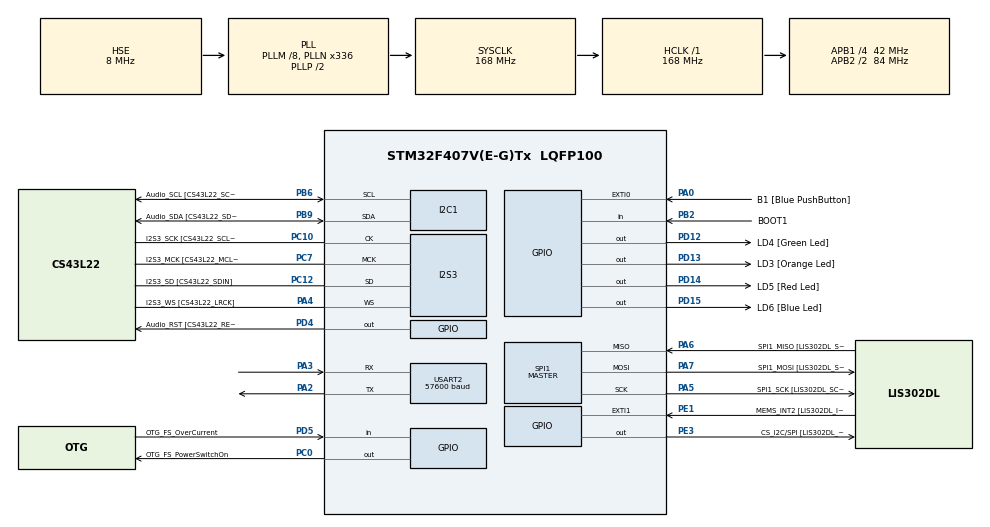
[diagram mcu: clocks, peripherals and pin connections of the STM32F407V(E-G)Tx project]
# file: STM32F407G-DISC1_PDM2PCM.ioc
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I2S3.AudioFreq-Half_Duplex_Master=I2S_AUDIOFREQ_96K
I2S3.ErrorAudioFreq=-2.34 %
I2S3.ErrorAudioFreq-Half_Duplex_Master=0.8 %
I2S3.FullDuplexMode=I2S_FULLDUPLEXMODE_DISABLE
I2S3.Instance=SPI$Index
I2S3.RealAudioFreq=93.75 KHz
I2S3.RealAudioFreq-Half_Duplex_Master=96.774 KHz
I2S3.VirtualMode=I2S_MODE_MASTER
Mcu.Family=STM32F4
Mcu.Name=STM32F407V(E-G)Tx
Mcu.Package=LQFP100
NVIC.PriorityGroup=NVIC_PRIORITYGROUP_0
PA0-WKUP.GPIO_Label=B1 [Blue PushButton]
PA0-WKUP.GPIO_ModeDefaultEXTI=GPIO_MODE_EVT_RISING
PA0-WKUP.GPIO_PuPd=GPIO_NOPULL
PA0-WKUP.Signal=GPXTI0
PA10.GPIO_Label=OTG_FS_ID
PA10.GPIO_Mode=GPIO_MODE_AF_PP
PA10.GPIO_PuPd=GPIO_NOPULL
PA10.GPIO_Speed=GPIO_SPEED_FREQ_LOW
PA10.Signal=USB_OTG_FS_ID
PA11.GPIO_Label=OTG_FS_DM
PA11.GPIO_Mode=GPIO_MODE_AF_PP
PA11.GPIO_PuPd=GPIO_NOPULL
PA11.GPIO_Speed=GPIO_SPEED_FREQ_LOW
PA11.Signal=USB_OTG_FS_DM
PA12.GPIO_Label=OTG_FS_DP
PA12.GPIO_Mode=GPIO_MODE_AF_PP
PA12.GPIO_PuPd=GPIO_NOPULL
PA12.GPIO_Speed=GPIO_SPEED_FREQ_LOW
PA12.Signal=USB_OTG_FS_DP
PA13.GPIO_Label=SWDIO
PA13.Mode=Serial_Wire
PA13.Signal=SYS_JTMS-SWDIO
PA14.GPIO_Label=SWCLK
PA14.Mode=Serial_Wire
PA14.Signal=SYS_JTCK-SWCLK
PA2.Mode=Asynchronous
PA2.Signal=USART2_TX
PA3.Mode=Asynchronous
PA3.Signal=USART2_RX
PA4.GPIO_Label=I2S3_WS [CS43L22_LRCK]
PA4.GPIO_Mode=GPIO_MODE_AF_PP
PA4.GPIO_PuPd=GPIO_NOPULL
PA4.GPIO_Speed=GPIO_SPEED_FREQ_LOW
PA4.Mode=Half_Duplex_Master
PA4.Signal=I2S3_WS
PA5.GPIO_Label=SPI1_SCK [LIS302DL_SCL/SPC]
PA5.GPIO_Mode=GPIO_MODE_AF_PP
PA5.GPIO_PuPd=GPIO_NOPULL
PA5.GPIO_Speed=GPIO_SPEED_FREQ_LOW
PA5.Mode=Full_Duplex_Master
PA5.Signal=SPI1_SCK
PA6.GPIO_Label=SPI1_MISO [LIS302DL_SDO]
PA6.GPIO_Mode=GPIO_MODE_AF_PP
PA6.GPIO_PuPd=GPIO_NOPULL
PA6.GPIO_Speed=GPIO_SPEED_FREQ_LOW
PA6.Mode=Full_Duplex_Master
PA6.Signal=SPI1_MISO
PA7.GPIO_Label=SPI1_MOSI [LIS302DL_SDA/SDI/SDO]
PA7.GPIO_Mode=GPIO_MODE_AF_PP
PA7.GPIO_PuPd=GPIO_NOPULL
PA7.GPIO_Speed=GPIO_SPEED_FREQ_LOW
PA7.Mode=Full_Duplex_Master
PA7.Signal=SPI1_MOSI
PA9.GPIO_Label=VBUS_FS
PA9.GPIO_Mode=GPIO_MODE_INPUT
PA9.GPIO_PuPd=GPIO_NOPULL
PA9.Signal=USB_OTG_FS_VBUS
PB10.GPIO_Label=CLK_IN [MP45DT02_CLK]
PB10.GPIO_Mode=GPIO_MODE_AF_PP
PB10.GPIO_PuPd=GPIO_NOPULL
PB10.GPIO_Speed=GPIO_SPEED_FREQ_LOW
PB10.Signal=I2S2_CK
PB2.GPIO_Label=BOOT1
PB2.GPIO_Mode=GPIO_MODE_INPUT
PB2.GPIO_PuPd=GPIO_NOPULL
PB2.Signal=GPIO_Input
PB3.GPIO_Label=SWO
PB3.Signal=SYS_JTDO-SWO
PB6.GPIO_Label=Audio_SCL [CS43L22_SCL]
PB6.GPIO_Mode=GPIO_MODE_AF_OD
PB6.GPIO_Pu=GPIO_PULLUP
PB6.GPIO_PuPd=GPIO_NOPULL
PB6.GPIO_Speed=GPIO_SPEED_FREQ_LOW
PB6.Mode=I2C
PB6.Signal=I2C1_SCL
PB9.GPIO_Label=Audio_SDA [CS43L22_SDA]
PB9.GPIO_Mode=GPIO_MODE_AF_OD
PB9.GPIO_Pu=GPIO_PULLUP
PB9.GPIO_PuPd=GPIO_NOPULL
PB9.GPIO_Speed=GPIO_SPEED_FREQ_LOW
PB9.Mode=I2C
PB9.Signal=I2C1_SDA
PC0.GPIO_Label=OTG_FS_PowerSwitchOn
PC0.GPIO_PuPd=GPIO_NOPULL
PC0.GPIO_Speed=GPIO_SPEED_FREQ_LOW
PC0.PinState=GPIO_PIN_SET
PC0.Signal=GPIO_Output
PC10.GPIO_Label=I2S3_SCK [CS43L22_SCLK]
PC10.GPIO_Mode=GPIO_MODE_AF_PP
PC10.GPIO_PuPd=GPIO_NOPULL
PC10.GPIO_Speed=GPIO_SPEED_FREQ_LOW
PC10.Mode=Half_Duplex_Master
PC10.Signal=I2S3_CK
PC12.GPIO_Label=I2S3_SD [CS43L22_SDIN]
PC12.GPIO_Mode=GPIO_MODE_AF_PP
PC12.GPIO_PuPd=GPIO_NOPULL
PC12.GPIO_Speed=GPIO_SPEED_FREQ_LOW
PC12.Mode=Half_Duplex_Master
PC12.Signal=I2S3_SD
PC3.GPIO_Label=PDM_OUT [MP45DT02_DOUT]
PC3.GPIO_Mode=GPIO_MODE_AF_PP
PC3.GPIO_PuPd=GPIO_NOPULL
PC3.GPIO_Speed=GPIO_SPEED_FREQ_LOW
PC3.Signal=I2S2_SD
PC7.GPIO_Label=I2S3_MCK [CS43L22_MCLK]
PC7.GPIO_Mode=GPIO_MODE_AF_PP
PC7.GPIO_PuPd=GPIO_NOPULL
PC7.GPIO_Speed=GPIO_SPEED_FREQ_LOW
PC7.Mode=Master_Clock_Activated
PC7.Signal=I2S3_MCK
PD12.GPIO_Label=LD4 [Green Led]
PD12.GPIO_PuPd=GPIO_NOPULL
PD12.GPIO_Speed=GPIO_SPEED_FREQ_LOW
PD12.Signal=GPIO_Output
PD13.GPIO_Label=LD3 [Orange Led]
PD13.GPIO_PuPd=GPIO_NOPULL
PD13.GPIO_Speed=GPIO_SPEED_FREQ_LOW
PD13.Signal=GPIO_Output
PD14.GPIO_Label=LD5 [Red Led]
PD14.GPIO_PuPd=GPIO_NOPULL
PD14.GPIO_Speed=GPIO_SPEED_FREQ_LOW
PD14.Signal=GPIO_Output
PD15.GPIO_Label=LD6 [Blue Led]
PD15.GPIO_PuPd=GPIO_NOPULL
PD15.GPIO_Speed=GPIO_SPEED_FREQ_LOW
PD15.Signal=GPIO_Output
PD4.GPIO_Label=Audio_RST [CS43L22_RESET]
PD4.GPIO_PuPd=GPIO_NOPULL
PD4.GPIO_Speed=GPIO_SPEED_FREQ_LOW
PD4.Signal=GPIO_Output
PD5.GPIO_Label=OTG_FS_OverCurrent
PD5.GPIO_Mode=GPIO_MODE_INPUT
PD5.GPIO_PuPd=GPIO_NOPULL
PD5.Signal=GPIO_Input
PDM2PCM.CHANNEL1_in_ptr_channels=1
PDM2PCM.CHANNEL1_out_ptr_channels=1
PDM2PCM.CHANNEL1_output_samples_number=125
PE1.GPIO_Label=MEMS_INT2 [LIS302DL_INT2]
PE1.GPIO_ModeDefaultEXTI=GPIO_MODE_EVT_RISING
PE1.GPIO_PuPd=GPIO_NOPULL
PE1.Signal=GPXTI1
PE3.GPIO_Label=CS_I2C/SPI [LIS302DL_CS_I2C/SPI]
PE3.GPIO_PuPd=GPIO_NOPULL
PE3.GPIO_Speed=GPIO_SPEED_FREQ_LOW
PE3.Signal=GPIO_Output
PH0-OSC_IN.GPIO_Label=PH0-OSC_IN
PH0-OSC_IN.Mode=HSE-External-Oscillator
PH0-OSC_IN.Signal=RCC_OSC_IN
PH1-OSC_OUT.GPIO_Label=PH1-OSC_OUT
PH1-OSC_OUT.Mode=HSE-External-Oscillator
PH1-OSC_OUT.Signal=RCC_OSC_OUT
ProjectManager.HeapSize=0x200
ProjectManager.StackSize=0x400
ProjectManager.TargetToolchain=STM32CubeIDE
RCC.48MHZClocksFreq_Value=48000000
RCC.AHBFreq_Value=168000000
RCC.APB1CLKDivider=RCC_HCLK_DIV4
RCC.APB1Freq_Value=42000000
RCC.APB1TimFreq_Value=84000000
RCC.APB2CLKDivider=RCC_HCLK_DIV2
RCC.APB2Freq_Value=84000000
RCC.APB2TimFreq_Value=168000000
RCC.CortexFreq_Value=168000000
RCC.HCLKFreq_Value=168000000
RCC.HSE_VALUE=8000000
RCC.HSI_VALUE=16000000
RCC.LSE_VALUE=32768
RCC.PLLM=8
RCC.PLLN=336
RCC.PLLQ=7
RCC.PLLSourceVirtual=RCC_PLLSOURCE_HSE
RCC.SYSCLKFreq_VALUE=168000000
RCC.SYSCLKSource=RCC_SYSCLKSOURCE_PLLCLK
RCC.VCOOutputFreq_Value=336000000
SPI1.BaudRatePrescaler-Full_Duplex_Master=SPI_BAUDRATEPRESCALER_2
SPI1.CalculateBaudRate-Full_Duplex_Master=42.0 MBits/s
SPI1.Direction=SPI_DIRECTION_2LINES
SPI1.Mode=SPI_MODE_MASTER
SPI1.Mode-Full_Duplex_Master=SPI_MODE_MASTER
SPI1.VirtualType=VM_MASTER
USART2.BaudRate=57600
USART2.VirtualMode=VM_ASYNC
VP_CRC_VS_CRC.Mode=CRC_Activate
VP_PDM2PCM_VS_PDM2PCM.Mode=PDM2PCM_Channel
board=STM32F407G-DISC1

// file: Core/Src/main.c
/* USER CODE BEGIN Header */
/**
  ******************************************************************************
  * @file           : main.c
  * @brief          : Main program body
  ******************************************************************************
  * @attention
  *
  * <h2><center>&copy; Copyright (c) 2021 STMicroelectronics.
  * All rights reserved.</center></h2>
  *
  * This software component is licensed by ST under Ultimate Liberty license
  * SLA0044, the "License"; You may not use this file except in compliance with
  * the License. You may obtain a copy of the License at:
  *                             www.st.com/SLA0044
  *
  ******************************************************************************
  */
/* USER CODE END Header */
#include "main.h"
#include "pdm2pcm.h"

/* USER CODE BEGIN Includes */

#include <stdio.h>
#include "pdm_tones.h"

/* USER CODE END Includes */

 CRC_HandleTypeDef hcrc;

I2C_HandleTypeDef hi2c1;

I2S_HandleTypeDef hi2s3;

SPI_HandleTypeDef hspi1;

UART_HandleTypeDef huart2;

/* USER CODE BEGIN PV */

int16_t PCM_outBuffer[1000];

/* USER CODE END PV */

void SystemClock_Config(void);
static void MX_GPIO_Init(void);
static void MX_I2C1_Init(void);
static void MX_I2S3_Init(void);
static void MX_SPI1_Init(void);
static void MX_USART2_UART_Init(void);
static void MX_CRC_Init(void);
/* USER CODE BEGIN PFP */

#define PUTCHAR_PROTOTYPE int __io_putchar(int ch)

/* USER CODE END PFP */

int main(void)
{

  /* MCU Configuration--------------------------------------------------------*/

  /* Reset of all peripherals, Initializes the Flash interface and the Systick. */
  HAL_Init();

  /* Configure the system clock */
  SystemClock_Config();

  /* Initialize all configured peripherals */
  MX_GPIO_Init();
  MX_I2C1_Init();
  MX_I2S3_Init();
  MX_SPI1_Init();
  MX_USART2_UART_Init();
  MX_CRC_Init();
  MX_PDM2PCM_Init();
  /* USER CODE BEGIN 2 */

//	printf("tone500Hz_pdmdata\n");
//	for (uint16_t Index = 0; Index < sizeof(tone500Hz_pdmdata); Index++)
//	{
//	  printf("%d %d\n",Index, tone500Hz_pdmdata[Index]);
//	}

  printf("Starting >> STM32F407G-DISC1_PDM2PCM... \n");

	// first bit to MSB - 8bit tone "AA"
	for(uint16_t i = 0; i < sizeof(tone500HzA4_pdmdata) * 4; i++)
	{
		pdmBuffer8_8000bits_1000bytes_1[i >> 3] = 0x55;
//		printf("i = %d,  i >>3 = %d, i mod sizeof(tone500HzA4_pdmdata) = %d \n",i, i >>3, i % sizeof(tone500HzA4_pdmdata));
	}

	// first bit to MSB - 8bit tone500Hz_pdmdata
	for(uint16_t i = 0; i < sizeof(tone500Hz_pdmdata) * 4; i++)
	{
		pdmBuffer8_8000bits_1000bytes_2[i >> 3] = (pdmBuffer8_8000bits_1000bytes_2[i >> 3] << 1) + tone500Hz_pdmdata[i % sizeof(tone500Hz_pdmdata)];
//		printf("i = %d,  i >>3 = %d, i mod sizeof(tone500Hz_pdmdata) = %d \n",i, i >>3, i % sizeof(tone500Hz_pdmdata));
	}

	// first bit to MSB - 8bit tone500HzA4_pdmdata
	for(uint16_t i = 0; i < sizeof(tone500HzA4_pdmdata) * 4; i++)
	{
		pdmBuffer8_8000bits_1000bytes_3[i >> 3] = (pdmBuffer8_8000bits_1000bytes_3[i >> 3] << 1) + tone500HzA4_pdmdata[i % sizeof(tone500HzA4_pdmdata)];
//		printf("i = %d,  i >>3 = %d, i mod sizeof(tone500HzA4_pdmdata) = %d \n",i, i >>3, i % sizeof(tone500HzA4_pdmdata));
	}

//	printf("pdmBuffer8_8000bits_1000bytes_2 first bit to MSB\n");
//	for (uint16_t Index = 0; Index < sizeof(pdmBuffer8_8000bits_1000bytes_2); Index++)
//	{
//		printf("%d %d\n",Index, pdmBuffer8_8000bits_1000bytes_2[Index]);
//	}

	GPIOD->BSRR = (1<<15); // Set
	PDM_Filter(&pdmBuffer8_8000bits_1000bytes_1[0],&PCM_outBuffer[0], &PDM1_filter_handler);
	GPIOD->BSRR  = (1<< (15 + 16) ); // Reset
	PDM_Filter(&pdmBuffer8_8000bits_1000bytes_2[0],&PCM_outBuffer[125], &PDM1_filter_handler);
	GPIOD->BSRR = (1<<15); // Set
	PDM_Filter(&pdmBuffer8_8000bits_1000bytes_1[0],&PCM_outBuffer[250], &PDM1_filter_handler);
	GPIOD->BSRR  = (1<< (15 + 16) ); // Reset
	PDM_Filter(&pdmBuffer8_8000bits_1000bytes_3[0],&PCM_outBuffer[375], &PDM1_filter_handler);
	GPIOD->BSRR = (1<<15); // Set

//	PDM_Filter(&pdmBuffer8_8000bits_1000bytes_3[0],&PCM_outBuffer[0], &PDM1_filter_handler);

	printf("PCM_outBuffer \n");
	for (uint16_t Index = 0; Index < 500; Index++)
	{
		printf("%d %d\n",Index, PCM_outBuffer[Index]);
	}

	printf("Ending   >> STM32F407G-DISC1_PDM2PCM... \n");

  /* USER CODE END 2 */

  /* Infinite loop */
  /* USER CODE BEGIN WHILE */
  while (1)
  {
	  HAL_GPIO_TogglePin(GPIOD, GPIO_PIN_12);
//	  HAL_GPIO_TogglePin(GPIOD, GPIO_PIN_13);
//	  HAL_GPIO_TogglePin(GPIOD, GPIO_PIN_14);
//	  HAL_GPIO_TogglePin(GPIOD, GPIO_PIN_15);
	  HAL_Delay(100);
    /* USER CODE END WHILE */

  }
}

void SystemClock_Config(void)
{
  RCC_OscInitTypeDef RCC_OscInitStruct = {0};
  RCC_ClkInitTypeDef RCC_ClkInitStruct = {0};

  /** Configure the main internal regulator output voltage
  */
  __HAL_RCC_PWR_CLK_ENABLE();
  __HAL_PWR_VOLTAGESCALING_CONFIG(PWR_REGULATOR_VOLTAGE_SCALE1);

  /** Initializes the RCC Oscillators according to the specified parameters
  * in the RCC_OscInitTypeDef structure.
  */
  RCC_OscInitStruct.OscillatorType = RCC_OSCILLATORTYPE_HSE;
  RCC_OscInitStruct.HSEState = RCC_HSE_ON;
  RCC_OscInitStruct.PLL.PLLState = RCC_PLL_ON;
  RCC_OscInitStruct.PLL.PLLSource = RCC_PLLSOURCE_HSE;
  RCC_OscInitStruct.PLL.PLLM = 8;
  RCC_OscInitStruct.PLL.PLLN = 336;
  RCC_OscInitStruct.PLL.PLLP = RCC_PLLP_DIV2;
  RCC_OscInitStruct.PLL.PLLQ = 7;
  if (HAL_RCC_OscConfig(&RCC_OscInitStruct) != HAL_OK)
  {
    Error_Handler();
  }

  /** Initializes the CPU, AHB and APB buses clocks
  */
  RCC_ClkInitStruct.ClockType = RCC_CLOCKTYPE_HCLK|RCC_CLOCKTYPE_SYSCLK
                              |RCC_CLOCKTYPE_PCLK1|RCC_CLOCKTYPE_PCLK2;
  RCC_ClkInitStruct.SYSCLKSource = RCC_SYSCLKSOURCE_PLLCLK;
  RCC_ClkInitStruct.AHBCLKDivider = RCC_SYSCLK_DIV1;
  RCC_ClkInitStruct.APB1CLKDivider = RCC_HCLK_DIV4;
  RCC_ClkInitStruct.APB2CLKDivider = RCC_HCLK_DIV2;

  if (HAL_RCC_ClockConfig(&RCC_ClkInitStruct, FLASH_LATENCY_5) != HAL_OK)
  {
    Error_Handler();
  }
}

static void MX_CRC_Init(void)
{

  hcrc.Instance = CRC;
  if (HAL_CRC_Init(&hcrc) != HAL_OK)
  {
    Error_Handler();
  }
  __HAL_CRC_DR_RESET(&hcrc);

}

static void MX_I2C1_Init(void)
{

  hi2c1.Instance = I2C1;
  hi2c1.Init.ClockSpeed = 100000;
  hi2c1.Init.DutyCycle = I2C_DUTYCYCLE_2;
  hi2c1.Init.OwnAddress1 = 0;
  hi2c1.Init.AddressingMode = I2C_ADDRESSINGMODE_7BIT;
  hi2c1.Init.DualAddressMode = I2C_DUALADDRESS_DISABLE;
  hi2c1.Init.OwnAddress2 = 0;
  hi2c1.Init.GeneralCallMode = I2C_GENERALCALL_DISABLE;
  hi2c1.Init.NoStretchMode = I2C_NOSTRETCH_DISABLE;
  if (HAL_I2C_Init(&hi2c1) != HAL_OK)
  {
    Error_Handler();
  }

}

static void MX_I2S3_Init(void)
{

  hi2s3.Instance = SPI3;
  hi2s3.Init.Mode = I2S_MODE_MASTER_TX;
  hi2s3.Init.Standard = I2S_STANDARD_PHILIPS;
  hi2s3.Init.DataFormat = I2S_DATAFORMAT_16B;
  hi2s3.Init.MCLKOutput = I2S_MCLKOUTPUT_ENABLE;
  hi2s3.Init.AudioFreq = I2S_AUDIOFREQ_96K;
  hi2s3.Init.CPOL = I2S_CPOL_LOW;
  hi2s3.Init.ClockSource = I2S_CLOCK_PLL;
  hi2s3.Init.FullDuplexMode = I2S_FULLDUPLEXMODE_DISABLE;
  if (HAL_I2S_Init(&hi2s3) != HAL_OK)
  {
    Error_Handler();
  }

}

static void MX_SPI1_Init(void)
{

  /* SPI1 parameter configuration*/
  hspi1.Instance = SPI1;
  hspi1.Init.Mode = SPI_MODE_MASTER;
  hspi1.Init.Direction = SPI_DIRECTION_2LINES;
  hspi1.Init.DataSize = SPI_DATASIZE_8BIT;
  hspi1.Init.CLKPolarity = SPI_POLARITY_LOW;
  hspi1.Init.CLKPhase = SPI_PHASE_1EDGE;
  hspi1.Init.NSS = SPI_NSS_SOFT;
  hspi1.Init.BaudRatePrescaler = SPI_BAUDRATEPRESCALER_2;
  hspi1.Init.FirstBit = SPI_FIRSTBIT_MSB;
  hspi1.Init.TIMode = SPI_TIMODE_DISABLE;
  hspi1.Init.CRCCalculation = SPI_CRCCALCULATION_DISABLE;
  hspi1.Init.CRCPolynomial = 10;
  if (HAL_SPI_Init(&hspi1) != HAL_OK)
  {
    Error_Handler();
  }

}

static void MX_USART2_UART_Init(void)
{

  huart2.Instance = USART2;
  huart2.Init.BaudRate = 57600;
  huart2.Init.WordLength = UART_WORDLENGTH_8B;
  huart2.Init.StopBits = UART_STOPBITS_1;
  huart2.Init.Parity = UART_PARITY_NONE;
  huart2.Init.Mode = UART_MODE_TX_RX;
  huart2.Init.HwFlowCtl = UART_HWCONTROL_NONE;
  huart2.Init.OverSampling = UART_OVERSAMPLING_16;
  if (HAL_UART_Init(&huart2) != HAL_OK)
  {
    Error_Handler();
  }

}

static void MX_GPIO_Init(void)
{
  GPIO_InitTypeDef GPIO_InitStruct = {0};

  /* GPIO Ports Clock Enable */
  __HAL_RCC_GPIOE_CLK_ENABLE();
  __HAL_RCC_GPIOH_CLK_ENABLE();
  __HAL_RCC_GPIOC_CLK_ENABLE();
  __HAL_RCC_GPIOA_CLK_ENABLE();
  __HAL_RCC_GPIOB_CLK_ENABLE();
  __HAL_RCC_GPIOD_CLK_ENABLE();

  /*Configure GPIO pin Output Level */
  HAL_GPIO_WritePin(CS_I2C_SPI_GPIO_Port, CS_I2C_SPI_Pin, GPIO_PIN_RESET);

  /*Configure GPIO pin Output Level */
  HAL_GPIO_WritePin(OTG_FS_PowerSwitchOn_GPIO_Port, OTG_FS_PowerSwitchOn_Pin, GPIO_PIN_SET);

  /*Configure GPIO pin Output Level */
  HAL_GPIO_WritePin(GPIOD, LD4_Pin|LD3_Pin|LD5_Pin|LD6_Pin
                          |Audio_RST_Pin, GPIO_PIN_RESET);

  /*Configure GPIO pin : CS_I2C_SPI_Pin */
  GPIO_InitStruct.Pin = CS_I2C_SPI_Pin;
  GPIO_InitStruct.Mode = GPIO_MODE_OUTPUT_PP;
  GPIO_InitStruct.Pull = GPIO_NOPULL;
  GPIO_InitStruct.Speed = GPIO_SPEED_FREQ_LOW;
  HAL_GPIO_Init(CS_I2C_SPI_GPIO_Port, &GPIO_InitStruct);

  /*Configure GPIO pin : OTG_FS_PowerSwitchOn_Pin */
  GPIO_InitStruct.Pin = OTG_FS_PowerSwitchOn_Pin;
  GPIO_InitStruct.Mode = GPIO_MODE_OUTPUT_PP;
  GPIO_InitStruct.Pull = GPIO_NOPULL;
  GPIO_InitStruct.Speed = GPIO_SPEED_FREQ_LOW;
  HAL_GPIO_Init(OTG_FS_PowerSwitchOn_GPIO_Port, &GPIO_InitStruct);

  /*Configure GPIO pin : PDM_OUT_Pin */
  GPIO_InitStruct.Pin = PDM_OUT_Pin;
  GPIO_InitStruct.Mode = GPIO_MODE_AF_PP;
  GPIO_InitStruct.Pull = GPIO_NOPULL;
  GPIO_InitStruct.Speed = GPIO_SPEED_FREQ_LOW;
  GPIO_InitStruct.Alternate = GPIO_AF5_SPI2;
  HAL_GPIO_Init(PDM_OUT_GPIO_Port, &GPIO_InitStruct);

  /*Configure GPIO pin : B1_Pin */
  GPIO_InitStruct.Pin = B1_Pin;
  GPIO_InitStruct.Mode = GPIO_MODE_EVT_RISING;
  GPIO_InitStruct.Pull = GPIO_NOPULL;
  HAL_GPIO_Init(B1_GPIO_Port, &GPIO_InitStruct);

  /*Configure GPIO pin : BOOT1_Pin */
  GPIO_InitStruct.Pin = BOOT1_Pin;
  GPIO_InitStruct.Mode = GPIO_MODE_INPUT;
  GPIO_InitStruct.Pull = GPIO_NOPULL;
  HAL_GPIO_Init(BOOT1_GPIO_Port, &GPIO_InitStruct);

  /*Configure GPIO pin : CLK_IN_Pin */
  GPIO_InitStruct.Pin = CLK_IN_Pin;
  GPIO_InitStruct.Mode = GPIO_MODE_AF_PP;
  GPIO_InitStruct.Pull = GPIO_NOPULL;
  GPIO_InitStruct.Speed = GPIO_SPEED_FREQ_LOW;
  GPIO_InitStruct.Alternate = GPIO_AF5_SPI2;
  HAL_GPIO_Init(CLK_IN_GPIO_Port, &GPIO_InitStruct);

  /*Configure GPIO pins : LD4_Pin LD3_Pin LD5_Pin LD6_Pin
                           Audio_RST_Pin */
  GPIO_InitStruct.Pin = LD4_Pin|LD3_Pin|LD5_Pin|LD6_Pin
                          |Audio_RST_Pin;
  GPIO_InitStruct.Mode = GPIO_MODE_OUTPUT_PP;
  GPIO_InitStruct.Pull = GPIO_NOPULL;
  GPIO_InitStruct.Speed = GPIO_SPEED_FREQ_LOW;
  HAL_GPIO_Init(GPIOD, &GPIO_InitStruct);

  /*Configure GPIO pin : VBUS_FS_Pin */
  GPIO_InitStruct.Pin = VBUS_FS_Pin;
  GPIO_InitStruct.Mode = GPIO_MODE_INPUT;
  GPIO_InitStruct.Pull = GPIO_NOPULL;
  HAL_GPIO_Init(VBUS_FS_GPIO_Port, &GPIO_InitStruct);

  /*Configure GPIO pins : OTG_FS_ID_Pin OTG_FS_DM_Pin OTG_FS_DP_Pin */
  GPIO_InitStruct.Pin = OTG_FS_ID_Pin|OTG_FS_DM_Pin|OTG_FS_DP_Pin;
  GPIO_InitStruct.Mode = GPIO_MODE_AF_PP;
  GPIO_InitStruct.Pull = GPIO_NOPULL;
  GPIO_InitStruct.Speed = GPIO_SPEED_FREQ_LOW;
  GPIO_InitStruct.Alternate = GPIO_AF10_OTG_FS;
  HAL_GPIO_Init(GPIOA, &GPIO_InitStruct);

  /*Configure GPIO pin : OTG_FS_OverCurrent_Pin */
  GPIO_InitStruct.Pin = OTG_FS_OverCurrent_Pin;
  GPIO_InitStruct.Mode = GPIO_MODE_INPUT;
  GPIO_InitStruct.Pull = GPIO_NOPULL;
  HAL_GPIO_Init(OTG_FS_OverCurrent_GPIO_Port, &GPIO_InitStruct);

  /*Configure GPIO pin : MEMS_INT2_Pin */
  GPIO_InitStruct.Pin = MEMS_INT2_Pin;
  GPIO_InitStruct.Mode = GPIO_MODE_EVT_RISING;
  GPIO_InitStruct.Pull = GPIO_NOPULL;
  HAL_GPIO_Init(MEMS_INT2_GPIO_Port, &GPIO_InitStruct);

}

/* USER CODE BEGIN 4 */

PUTCHAR_PROTOTYPE
{
  /* Place your implementation of fputc here */
  /* e.g. write a character to the LPUART1 and Loop until the end of transmission */
  HAL_UART_Transmit(&huart2, (uint8_t *)&ch, 1, 0xFFFF);

  return ch;
}

/* USER CODE END 4 */

void Error_Handler(void)
{
  __disable_irq();
  while (1)
  {
  }
}
